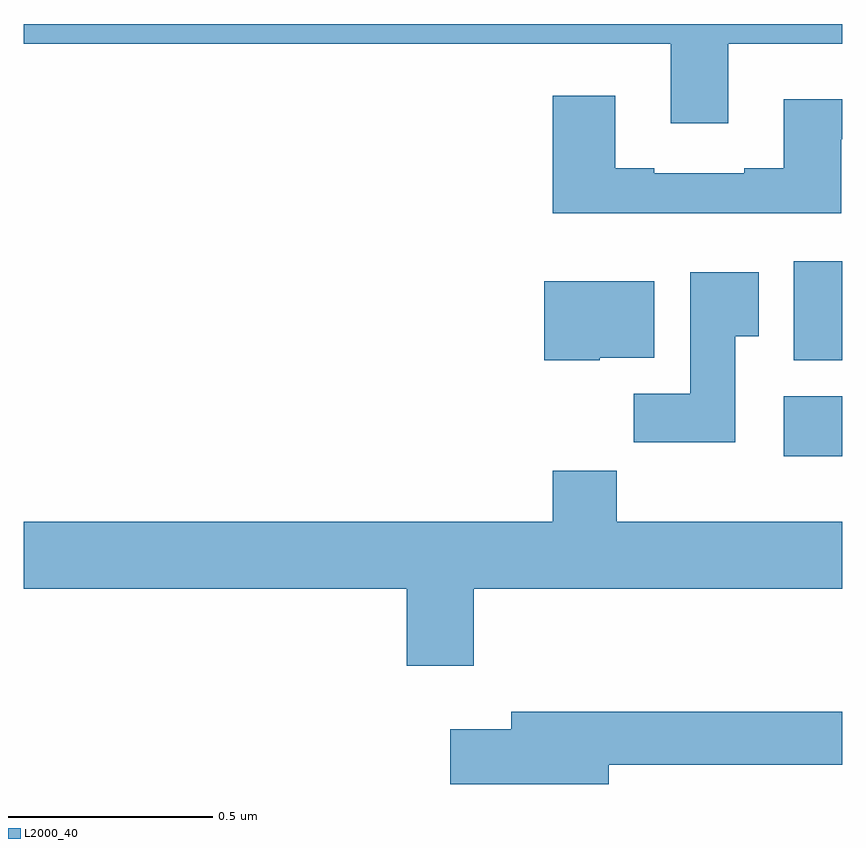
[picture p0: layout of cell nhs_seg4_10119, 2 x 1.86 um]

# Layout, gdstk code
import gdstk
lib = gdstk.Library(unit=1e-6, precision=1e-09)
def R(c, l, rs):  # rectangles x0, y0, x1, y1
    for r in rs: c.add(gdstk.rectangle(r[:2], r[2:], *l))
def P(c, l, *ps):  # polygons
    for p in ps: c.add(gdstk.Polygon(p, *l))
L2000_40 = (2000, 40)

nhs_seg4_10119 = lib.new_cell('nhs_seg4_10119')
R(nhs_seg4_10119, L2000_40, [(237.857,763.844,238,763.99), (237.881,764.078,238,764.32)])
P(nhs_seg4_10119, L2000_40, [(237.721,764.852),(238,764.852),(238,764.9),(236,764.9),(236,764.852),(237.581,764.852),(237.581,764.658),(237.721,764.658)],
  [(237.997,764.619),(238,764.619),(238,764.716),(237.857,764.716),(237.857,764.548),(237.761,764.548),(237.761,764.535),(237.541,764.535),(237.541,764.548),(237.445,764.548),(237.445,764.725),(237.293,764.725),(237.293,764.438),(237.997,764.438)],
  [(237.739,764.137),(237.796,764.137),(237.796,764.293),(237.629,764.293),(237.629,763.996),(237.49,763.996),(237.49,763.878),(237.739,763.878)],
  [(237.408,764.084),(237.541,764.084),(237.541,764.272),(237.272,764.272),(237.272,764.078),(237.408,764.078)],
  [(237.1,763.52),(238,763.52),(238,763.684),(237.449,763.684),(237.449,763.808),(237.293,763.808),(237.293,763.684),(236,763.684),(236,763.52),(236.936,763.52),(236.936,763.332),(237.1,763.332)],
  [(237.43,763.09),(238,763.09),(238,763.219),(237.191,763.219),(237.191,763.177),(237.042,763.177),(237.042,763.043),(237.43,763.043)])

lib.write_gds('nhs_seg4_10119.gds')
